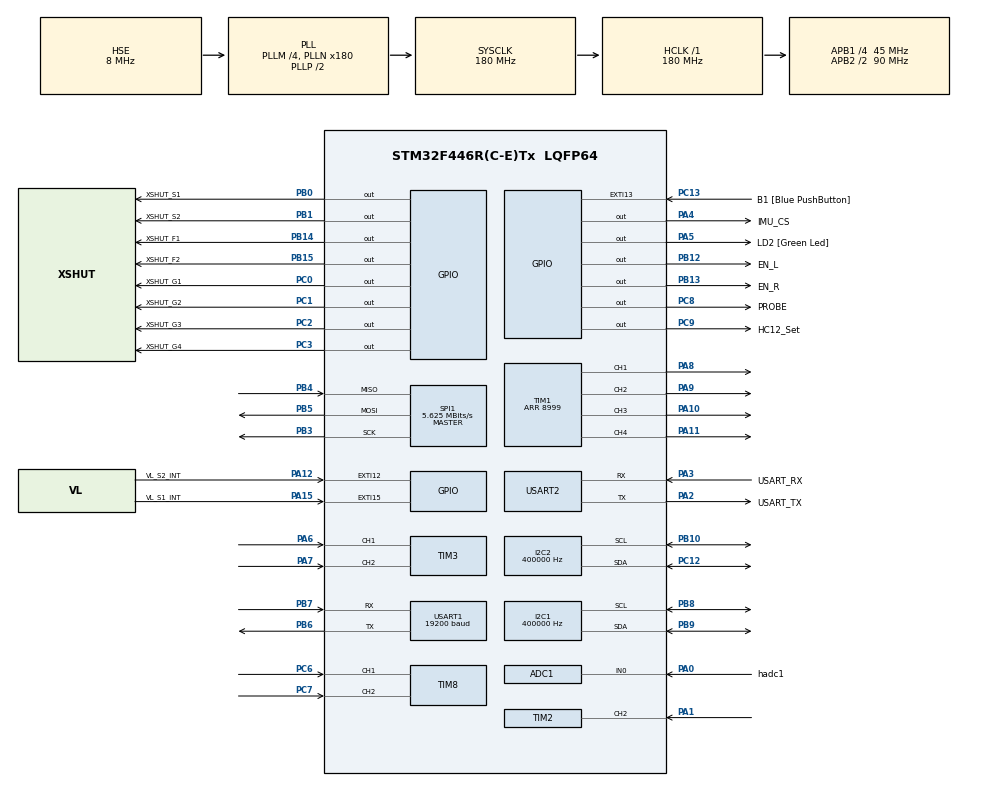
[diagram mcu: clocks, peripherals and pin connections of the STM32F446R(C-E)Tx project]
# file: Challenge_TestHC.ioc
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ADC1.Channel-0\#ChannelRegularConversion=ADC_CHANNEL_0
ADC1.NbrOfConversionFlag=1
ADC1.Rank-0\#ChannelRegularConversion=1
ADC1.SamplingTime-0\#ChannelRegularConversion=ADC_SAMPLETIME_480CYCLES
ADC1.master=1
Dma.Request0=SPI1_RX
Dma.Request1=SPI1_TX
Dma.Request2=USART1_RX
Dma.Request3=USART1_TX
Dma.SPI1_RX.0.Direction=DMA_PERIPH_TO_MEMORY
Dma.SPI1_RX.0.FIFOMode=DMA_FIFOMODE_DISABLE
Dma.SPI1_RX.0.Instance=DMA2_Stream0
Dma.SPI1_RX.0.MemDataAlignment=DMA_MDATAALIGN_BYTE
Dma.SPI1_RX.0.MemInc=DMA_MINC_ENABLE
Dma.SPI1_RX.0.Mode=DMA_NORMAL
Dma.SPI1_RX.0.PeriphDataAlignment=DMA_PDATAALIGN_BYTE
Dma.SPI1_RX.0.PeriphInc=DMA_PINC_DISABLE
Dma.SPI1_RX.0.Priority=DMA_PRIORITY_VERY_HIGH
Dma.SPI1_TX.1.Direction=DMA_MEMORY_TO_PERIPH
Dma.SPI1_TX.1.FIFOMode=DMA_FIFOMODE_DISABLE
Dma.SPI1_TX.1.Instance=DMA2_Stream3
Dma.SPI1_TX.1.MemDataAlignment=DMA_MDATAALIGN_BYTE
Dma.SPI1_TX.1.MemInc=DMA_MINC_ENABLE
Dma.SPI1_TX.1.Mode=DMA_NORMAL
Dma.SPI1_TX.1.PeriphDataAlignment=DMA_PDATAALIGN_BYTE
Dma.SPI1_TX.1.PeriphInc=DMA_PINC_DISABLE
Dma.SPI1_TX.1.Priority=DMA_PRIORITY_HIGH
Dma.USART1_RX.2.Direction=DMA_PERIPH_TO_MEMORY
Dma.USART1_RX.2.FIFOMode=DMA_FIFOMODE_DISABLE
Dma.USART1_RX.2.Instance=DMA2_Stream2
Dma.USART1_RX.2.MemDataAlignment=DMA_MDATAALIGN_BYTE
Dma.USART1_RX.2.MemInc=DMA_MINC_ENABLE
Dma.USART1_RX.2.Mode=DMA_CIRCULAR
Dma.USART1_RX.2.PeriphDataAlignment=DMA_PDATAALIGN_BYTE
Dma.USART1_RX.2.PeriphInc=DMA_PINC_DISABLE
Dma.USART1_RX.2.Priority=DMA_PRIORITY_MEDIUM
Dma.USART1_TX.3.Direction=DMA_MEMORY_TO_PERIPH
Dma.USART1_TX.3.FIFOMode=DMA_FIFOMODE_DISABLE
Dma.USART1_TX.3.Instance=DMA2_Stream7
Dma.USART1_TX.3.MemDataAlignment=DMA_MDATAALIGN_BYTE
Dma.USART1_TX.3.MemInc=DMA_MINC_ENABLE
Dma.USART1_TX.3.Mode=DMA_NORMAL
Dma.USART1_TX.3.PeriphDataAlignment=DMA_PDATAALIGN_BYTE
Dma.USART1_TX.3.PeriphInc=DMA_PINC_DISABLE
Dma.USART1_TX.3.Priority=DMA_PRIORITY_LOW
I2C1.ClockSpeed=400000
I2C1.DutyCycle=I2C_DUTYCYCLE_2
I2C1.I2C_Mode=I2C_Fast
I2C2.ClockSpeed=400000
I2C2.DutyCycle=I2C_DUTYCYCLE_2
I2C2.I2C_Mode=I2C_Fast
IWDG.Prescaler=IWDG_PRESCALER_32
IWDG.Reload=100
Mcu.Family=STM32F4
Mcu.Name=STM32F446R(C-E)Tx
Mcu.Package=LQFP64
NVIC.DMA2_Stream0_IRQn=true\:2\:0\:true\:false\:true\:false\:true\:true
NVIC.DMA2_Stream2_IRQn=true\:3\:0\:true\:false\:true\:false\:true\:true
NVIC.DMA2_Stream3_IRQn=true\:2\:0\:true\:false\:true\:false\:true\:true
NVIC.DMA2_Stream7_IRQn=true\:3\:0\:true\:false\:true\:false\:true\:true
NVIC.EXTI15_10_IRQn=true\:4\:0\:true\:false\:true\:true\:true\:true
NVIC.I2C1_ER_IRQn=true\:4\:0\:true\:false\:true\:true\:true\:true
NVIC.I2C1_EV_IRQn=true\:4\:0\:true\:false\:true\:true\:true\:true
NVIC.I2C2_ER_IRQn=true\:4\:0\:true\:false\:true\:true\:true\:true
NVIC.I2C2_EV_IRQn=true\:4\:0\:true\:false\:true\:true\:true\:true
NVIC.PriorityGroup=NVIC_PRIORITYGROUP_4
NVIC.TIM2_IRQn=true\:2\:0\:true\:false\:true\:true\:true\:true
NVIC.TIM6_DAC_IRQn=true\:1\:0\:true\:false\:true\:true\:true\:true
NVIC.USART1_IRQn=true\:3\:0\:true\:false\:true\:true\:true\:true
NVIC.USART2_IRQn=true\:3\:0\:true\:false\:true\:true\:true\:true
PA0-WKUP.GPIO_Label=hadc1
PA0-WKUP.Signal=ADCx_IN0
PA1.Signal=S_TIM2_CH2
PA10.Signal=S_TIM1_CH3
PA11.Signal=S_TIM1_CH4
PA12.GPIO_Label=VL_S2_INT
PA12.GPIO_ModeDefaultEXTI=GPIO_MODE_IT_FALLING
PA12.GPIO_PuPd=GPIO_PULLUP
PA12.Signal=GPXTI12
PA13.GPIO_Label=TMS
PA13.Mode=Serial_Wire
PA13.Signal=SYS_JTMS-SWDIO
PA14.GPIO_Label=TCK
PA14.Mode=Serial_Wire
PA14.Signal=SYS_JTCK-SWCLK
PA15.GPIO_Label=VL_S1_INT
PA15.GPIO_ModeDefaultEXTI=GPIO_MODE_IT_FALLING
PA15.GPIO_PuPd=GPIO_PULLUP
PA15.Signal=GPXTI15
PA2.GPIO_Label=USART_TX
PA2.Mode=Asynchronous
PA2.Signal=USART2_TX
PA3.GPIO_Label=USART_RX
PA3.Mode=Asynchronous
PA3.Signal=USART2_RX
PA4.GPIO_Label=IMU_CS
PA4.GPIO_Speed=GPIO_SPEED_FREQ_VERY_HIGH
PA4.PinState=GPIO_PIN_SET
PA4.Signal=GPIO_Output
PA5.GPIO_Label=LD2 [Green Led]
PA5.Signal=GPIO_Output
PA6.Signal=S_TIM3_CH1
PA7.Signal=S_TIM3_CH2
PA8.Signal=S_TIM1_CH1
PA9.Signal=S_TIM1_CH2
PB0.GPIO_Label=XSHUT_S1
PB0.Signal=GPIO_Output
PB1.GPIO_Label=XSHUT_S2
PB1.Signal=GPIO_Output
PB10.Mode=I2C
PB10.Signal=I2C2_SCL
PB12.GPIO_Label=EN_L
PB12.GPIO_PuPd=GPIO_PULLDOWN
PB12.Signal=GPIO_Output
PB13.GPIO_Label=EN_R
PB13.GPIO_PuPd=GPIO_PULLDOWN
PB13.Signal=GPIO_Output
PB14.GPIO_Label=XSHUT_F1
PB14.Signal=GPIO_Output
PB15.GPIO_Label=XSHUT_F2
PB15.Signal=GPIO_Output
PB3.Mode=Full_Duplex_Master
PB3.Signal=SPI1_SCK
PB4.Mode=Full_Duplex_Master
PB4.Signal=SPI1_MISO
PB5.Mode=Full_Duplex_Master
PB5.Signal=SPI1_MOSI
PB6.Mode=Asynchronous
PB6.Signal=USART1_TX
PB7.GPIO_PuPd=GPIO_PULLUP
PB7.Mode=Asynchronous
PB7.Signal=USART1_RX
PB8.Mode=I2C
PB8.Signal=I2C1_SCL
PB9.Mode=I2C
PB9.Signal=I2C1_SDA
PC0.GPIO_Label=XSHUT_G1
PC0.Signal=GPIO_Output
PC1.GPIO_Label=XSHUT_G2
PC1.Signal=GPIO_Output
PC12.Mode=I2C
PC12.Signal=I2C2_SDA
PC13.GPIO_Label=B1 [Blue PushButton]
PC13.GPIO_ModeDefaultEXTI=GPIO_MODE_IT_FALLING
PC13.Signal=GPXTI13
PC2.GPIO_Label=XSHUT_G3
PC2.Signal=GPIO_Output
PC3.GPIO_Label=XSHUT_G4
PC3.Signal=GPIO_Output
PC6.Signal=S_TIM8_CH1
PC7.Signal=S_TIM8_CH2
PC8.GPIO_Label=PROBE
PC8.GPIO_Speed=GPIO_SPEED_FREQ_VERY_HIGH
PC8.Signal=GPIO_Output
PC9.GPIO_Label=HC12_Set
PC9.PinState=GPIO_PIN_SET
PC9.Signal=GPIO_Output
PH0-OSC_IN.Mode=HSE-External-Clock-Source
PH0-OSC_IN.Signal=RCC_OSC_IN
PH1-OSC_OUT.Mode=HSE-External-Clock-Source
PH1-OSC_OUT.Signal=RCC_OSC_OUT
ProjectManager.HeapSize=0x400
ProjectManager.StackSize=0x1000
ProjectManager.TargetToolchain=STM32CubeIDE
RCC.AHBFreq_Value=180000000
RCC.APB1CLKDivider=RCC_HCLK_DIV4
RCC.APB1Freq_Value=45000000
RCC.APB1TimFreq_Value=90000000
RCC.APB2CLKDivider=RCC_HCLK_DIV2
RCC.APB2Freq_Value=90000000
RCC.APB2TimFreq_Value=180000000
RCC.CortexFreq_Value=180000000
RCC.EnbaleCSS=true
RCC.FLatency-AdvancedSettings=FLASH_LATENCY_5
RCC.HCLKFreq_Value=180000000
RCC.HSE_Timout=1000
RCC.HSE_VALUE=8000000
RCC.HSI_VALUE=16000000
RCC.LSE_VALUE=32768
RCC.PLLM=4
RCC.PLLN=180
RCC.PLLSourceVirtual=RCC_PLLSOURCE_HSE
RCC.SYSCLKFreq_VALUE=180000000
RCC.SYSCLKSource=RCC_SYSCLKSOURCE_PLLCLK
RCC.USBFreq_Value=180000000
RCC.VCOOutputFreq_Value=360000000
SH.ADCx_IN0.0=ADC1_IN0,IN0
SH.S_TIM1_CH1.0=TIM1_CH1,PWM Generation1 CH1
SH.S_TIM1_CH2.0=TIM1_CH2,PWM Generation2 CH2
SH.S_TIM1_CH3.0=TIM1_CH3,PWM Generation3 CH3
SH.S_TIM1_CH4.0=TIM1_CH4,PWM Generation4 CH4
SH.S_TIM2_CH2.0=TIM2_CH2,Input_Capture2_from_TI2
SH.S_TIM3_CH1.0=TIM3_CH1,Encoder_Interface
SH.S_TIM3_CH2.0=TIM3_CH2,Encoder_Interface
SH.S_TIM8_CH1.0=TIM8_CH1,Encoder_Interface
SH.S_TIM8_CH2.0=TIM8_CH2,Encoder_Interface
SPI1.BaudRatePrescaler=SPI_BAUDRATEPRESCALER_16
SPI1.CLKPhase=SPI_PHASE_2EDGE
SPI1.CLKPolarity=SPI_POLARITY_HIGH
SPI1.CalculateBaudRate=5.625 MBits/s
SPI1.Direction=SPI_DIRECTION_2LINES
SPI1.Mode=SPI_MODE_MASTER
SPI1.VirtualType=VM_MASTER
TIM1.AutoReloadPreload=TIM_AUTORELOAD_PRELOAD_ENABLE
TIM1.Channel-PWM\ Generation1\ CH1=TIM_CHANNEL_1
TIM1.Channel-PWM\ Generation2\ CH2=TIM_CHANNEL_2
TIM1.Channel-PWM\ Generation3\ CH3=TIM_CHANNEL_3
TIM1.Channel-PWM\ Generation4\ CH4=TIM_CHANNEL_4
TIM1.Period=8999
TIM2.Channel-Input_Capture2_from_TI2=TIM_CHANNEL_2
TIM2.Prescaler=89
TIM3.EncoderMode=TIM_ENCODERMODE_TI12
TIM3.IC1Filter=15
TIM3.IC2Filter=15
TIM6.AutoReloadPreload=TIM_AUTORELOAD_PRELOAD_ENABLE
TIM6.Period=999
TIM6.Prescaler=89
TIM8.ClockDivision=TIM_CLOCKDIVISION_DIV2
TIM8.EncoderMode=TIM_ENCODERMODE_TI12
TIM8.IC1Filter=15
TIM8.IC2Filter=15
USART1.BaudRate=19200
USART1.VirtualMode=VM_ASYNC
USART2.VirtualMode=VM_ASYNC
VP_IWDG_VS_IWDG.Mode=IWDG_Activate
VP_TIM2_VS_ClockSourceINT.Mode=Internal
VP_TIM6_VS_ClockSourceINT.Mode=Enable_Timer
board=NUCLEO-F446RE

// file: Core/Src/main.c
/* USER CODE BEGIN Header */
/**
  ******************************************************************************
  * @file    main.c
  * @brief   Car: 2x encoder (TIM3 = left, TIM8 = right), 2x BTS7960,
  *          trapezoid speed profile + PI speed control, command D<mm>.
  *          Board : NUCLEO-F446RE (STM32F446RE), SYSCLK 180 MHz (HSE bypass)
  *
  *  Hardware (according to MR2006B_Pinout.xlsx)
  *   PA2/PA3    USART2     ST-LINK virtual COM port (115200)
  *   PA6, PA7   TIM3_CH1/2 left encoder  A, B   (3.3 V supply for encoders!)
  *   PC6, PC7   TIM8_CH1/2 right encoder A, B
  *   PA8        TIM1_CH1   LEFT  BTS7960  RPWM  (forward)
  *   PA9        TIM1_CH2   LEFT  BTS7960  LPWM  (reverse)
  *   PA10       TIM1_CH3   RIGHT BTS7960  RPWM  (forward)
  *   PA11       TIM1_CH4   RIGHT BTS7960  LPWM  (reverse)
  *   PB12 EN_L  GPIO out   LEFT  BTS7960  R_EN + L_EN (tied together, 10k pull-down)
  *   PB13 EN_R  GPIO out   RIGHT BTS7960  R_EN + L_EN (tied together, 10k pull-down)
  *   TIM6       internal 50 Hz timer interrupt = control loop
  *
  *  Serial monitor commands (CR or LF at the end):
  *     D1000 / D-1000   drive 1000 mm forward / backward
  *     V300             nominal speed [mm/s]            (default 300)
  *     T1000            acceleration = deceleration ramp [ms]
  *     T1000 1500       acceleration ramp, deceleration ramp [ms]
  *     -100 ... 100     OPEN LOOP duty in % (for measuring, wheels in the air)
  *     s                stop / abort
  *     r                reset both counters (only when stopped)
  *     p                print once
  *     a                auto print on/off (every 250 ms)
  *     ?                help
  ******************************************************************************
  */
/* USER CODE END Header */
#include "main.h"

/* USER CODE BEGIN Includes */
#include "app.h"
#include "app_config.h"
#include "sys_fault.h"
#if APP_CALIB
#include "calib.h"
#endif
/* USER CODE END Includes */

/* USER CODE BEGIN PTD */
#if 0  /* pre-spec firmware, compiled out until H3 passes (spec 16.3), then deleted */
typedef enum {
  PH_IDLE = 0,
  PH_MOVE,        /* following the speed profile                       */
  PH_SETTLE,      /* profile finished, trimming the last millimetres   */
  PH_FAULT        /* stalled or wrong encoder/motor sign               */
} Phase_t;

typedef struct {
  TIM_HandleTypeDef *enc;       /* encoder timer                        */
  uint32_t ch_fwd, ch_rev;      /* TIM1 PWM channels (RPWM, LPWM)       */
  int8_t   enc_sign;            /* +1/-1: forward must give +counts     */
  int8_t   mot_sign;            /* +1/-1: +duty must drive forward      */
  float    ks;                  /* feed-forward offset, % duty          */
  float    kv;
  float    ks_break;
  uint16_t last_raw;
  int32_t  total;               /* counts                               */
  int32_t  start_total;         /* counts at the start of the move      */
  float    speed;               /* filtered speed [mm/s]                */
  float    integ;               /* PI integrator, already in % duty     */
  float    duty;                /* output, % (wheel-forward positive)   */
  uint8_t  kick_ticks;
  uint8_t  moved;               /* wheel has broken away in this move   */
  uint8_t  fault_cnt;
} Wheel_t;
                /* feed-forward slope, % per mm/s       */
#endif
/* USER CODE END PTD */

/* USER CODE BEGIN PD */
#if 0
/* ---- mechanics ---- */
#define WHEEL_DIAMETER_MM     72.6f
#define WHEEL_BASE_MM         223.25f   /* not used yet, for odometry later  */
#define COUNTS_PER_WHEEL_REV  3584.0f   /* measured average: 3584.5          */
#define PI_F                  3.14159265f
#define MM_PER_COUNT          ((PI_F * WHEEL_DIAMETER_MM) / COUNTS_PER_WHEEL_REV)

/* Encoder signs: forward motion must give POSITIVE counts */
#define ENC_L_SIGN            1
#define ENC_R_SIGN            -1
/* Motor signs: positive duty must drive the wheel FORWARD */
#define MOT_L_SIGN            -1
#define MOT_R_SIGN            1

/* ---- BTS7960 / PWM ---- */
#define MOT_L_FWD_CH          TIM_CHANNEL_1   /* PA8  */
#define MOT_L_REV_CH          TIM_CHANNEL_2   /* PA9  */
#define MOT_R_FWD_CH          TIM_CHANNEL_3   /* PA10 */
#define MOT_R_REV_CH          TIM_CHANNEL_4   /* PA11 */
#define PWM_FREQ_HZ           20000U          /* BTS7960 allows up to 25 kHz */

/* ---- control loop (TIM6) ---- */
#define CTRL_PERIOD_S         0.02f           /* 50 Hz, must match TIM6      */
#define SPEED_FILTER_ALPHA    0.5f            /* 1 = no filtering            */

/* ---- feed-forward and start-up (TUNE THESE FIRST) ---- */
/* ---- feed-forward, measured per motor (CONCEPT.md §5.5) ---- */
#define KV_L                  0.00492f  /* duty per output rpm             */
#define KS_L                  0.110f    /* duty, running-fit intercept     */
#define KV_R                  0.00507f
#define KS_R                  0.127f
#define RPM_PER_MMS           (60.0f / (PI_F * WHEEL_DIAMETER_MM))
#define KV_PCT_PER_MMS(kv)    ((kv) * 100.0f * RPM_PER_MMS)
#define KS_PCT(ks)            ((ks) * 100.0f)
#define KICK_DUTY_PCT         40.0f   /* short boost to break static friction*/
#define KICK_TICKS            5U      /* max 5 x 20 ms = 100 ms of boost     */
#define V_MOVING_MM_S         8.0f    /* above this the wheel is "moving"    */
#define V_ZERO_MM_S           2.0f    /* below this the command is "zero"    */

/* ---- PI speed controller (per wheel) ---- */
#define KP_SPEED              0.10f   /* % duty per mm/s of error            */
#define KI_SPEED              0.50f   /* % duty per (mm/s * s)               */
#define INTEG_MAX_PCT         30.0f   /* anti-windup clamp                   */

/* ---- position trim (keeps both wheels on the profile = straight line) ---- */
#define KP_POS                2.0f    /* mm/s per mm of position error       */
#define V_CORR_MAX_MM_S       100.0f
#define SETTLE_V_MM_S         20.0f
#define POS_TOL_MM            2.0f
#define SETTLE_TICKS          50U     /* 1 s                                 */

/* ---- protection ---- */
#define FAULT_TICKS           30U     /* 0.6 s                               */

/* ---- user limits / defaults ---- */
#define V_NOM_DEFAULT         300.0f
#define V_NOM_MIN             20L
#define V_NOM_MAX             800L
#define ACC_MS_DEFAULT        1000U
#define DEC_MS_DEFAULT        1000U
#define MIN_DIST_MM           5L
#define MAX_DIST_MM           20000L

#define EVT_DONE              1U
#define EVT_FAULT             2U

#define RX_LINE_MAX           16
#define AUTO_PRINT_MS         250U
#define DEADMAN_MS            2000U   /* open loop: stop without input */
#endif
/* USER CODE END PD */

ADC_HandleTypeDef hadc1;

I2C_HandleTypeDef hi2c1;
I2C_HandleTypeDef hi2c2;

IWDG_HandleTypeDef hiwdg;

SPI_HandleTypeDef hspi1;
DMA_HandleTypeDef hdma_spi1_rx;
DMA_HandleTypeDef hdma_spi1_tx;

TIM_HandleTypeDef htim1;
TIM_HandleTypeDef htim2;
TIM_HandleTypeDef htim3;
TIM_HandleTypeDef htim6;
TIM_HandleTypeDef htim8;

UART_HandleTypeDef huart1;
UART_HandleTypeDef huart2;
DMA_HandleTypeDef hdma_usart1_rx;
DMA_HandleTypeDef hdma_usart1_tx;

/* USER CODE BEGIN PV */
#if 0
static Wheel_t wl = { .enc = &htim3, .ch_fwd = MOT_L_FWD_CH, .ch_rev = MOT_L_REV_CH,
                      .enc_sign = ENC_L_SIGN, .mot_sign = MOT_L_SIGN,
					  .ks = KS_PCT(KS_L), .kv = KV_PCT_PER_MMS(KV_L), .ks_break = 14.1f };
static Wheel_t wr = { .enc = &htim8, .ch_fwd = MOT_R_FWD_CH, .ch_rev = MOT_R_REV_CH,
                      .enc_sign = ENC_R_SIGN, .mot_sign = MOT_R_SIGN,
					  .ks = KS_PCT(KS_R), .kv = KV_PCT_PER_MMS(KV_R), .ks_break = 16.9f };

/* for STM32CubeMonitor / debugger */
volatile float position_l_mm = 0.0f;
volatile float position_r_mm = 0.0f;
volatile float speed_l_mms   = 0.0f;
volatile float speed_r_mms   = 0.0f;

static volatile Phase_t phase = PH_IDLE;
static volatile uint8_t evt   = 0;
static uint32_t pwm_arr       = 8999U;          /* recomputed in PWM_Setup() */

/* user settings */
static float    v_nom  = V_NOM_DEFAULT;
static uint32_t acc_ms = ACC_MS_DEFAULT;
static uint32_t dec_ms = DEC_MS_DEFAULT;

/* current move (written with interrupts disabled) */
static float    mv_D = 0, mv_Sn = 0, mv_a = 1, mv_d = 1, mv_T = 0, mv_t1 = 0, mv_t2 = 0;
static int8_t   mv_dir = 1;
static long     mv_target_mm = 0;
static uint32_t mv_ticks = 0;
static uint32_t settle_ticks = 0;

/* serial */
static volatile char    rx_line[RX_LINE_MAX];
static volatile uint8_t rx_len     = 0;
static volatile uint8_t line_ready = 0;
static uint8_t rx_byte;
static uint8_t auto_print = 0;
static uint8_t           rx_byte1;        /* HC-12 on USART1 */
static volatile uint32_t t_last_rx = 0;   /* last byte from either UART */
static uint8_t           open_loop = 0;   /* open-loop duty is active */
#endif
/* USER CODE END PV */

void SystemClock_Config(void);
static void MX_GPIO_Init(void);
static void MX_DMA_Init(void);
static void MX_TIM1_Init(void);
static void MX_TIM2_Init(void);
static void MX_TIM3_Init(void);
static void MX_TIM6_Init(void);
static void MX_TIM8_Init(void);
static void MX_USART1_UART_Init(void);
static void MX_USART2_UART_Init(void);
static void MX_ADC1_Init(void);
static void MX_SPI1_Init(void);
static void MX_I2C1_Init(void);
static void MX_I2C2_Init(void);
/* USER CODE BEGIN PFP */
#if 0
static void Car_Init(void);
static void Car_Loop(void);
static void PWM_Setup(void);
static void Serial_Print(const char *txt);
static void Serial_HandleCommand(const char *cmd);
static void Serial_PrintStatus(void);
static void Wheel_SetDuty(Wheel_t *w, float duty);
static void Motors_Stop(void);
static int  Move_Start(long dist_mm);
#endif
/* USER CODE END PFP */

int main(void)
{

  /* MCU Configuration--------------------------------------------------------*/

  /* Reset of all peripherals, Initializes the Flash interface and the Systick. */
  HAL_Init();

  /* Configure the system clock */
  SystemClock_Config();

  /* Initialize all configured peripherals */
  MX_GPIO_Init();
  MX_DMA_Init();
  MX_TIM1_Init();
  MX_TIM2_Init();
  MX_TIM3_Init();
  MX_TIM6_Init();
  MX_TIM8_Init();
  MX_USART1_UART_Init();
  MX_USART2_UART_Init();
  MX_ADC1_Init();
  MX_SPI1_Init();
  MX_I2C1_Init();
  MX_I2C2_Init();
  /* USER CODE BEGIN 2 */
#if APP_CALIB
  htim6.Instance->ARR = 19999U;                  /* 50 Hz for the calibration firmware */
  Calib_Init(&htim1, &htim3, &htim8, &htim6, &huart2, &huart1);
  for (;;) { Calib_Loop(); }
#else
  app_init(&(app_hw_t){ .tim1 = &htim1, .tim2 = &htim2, .tim3 = &htim3, .tim6 = &htim6,
                        .tim8 = &htim8, .uart1 = &huart1, .uart2 = &huart2 });
#endif
  /* USER CODE END 2 */

  /* Infinite loop */
  while (1)
  {

    /* USER CODE BEGIN 3 */
    app_loop();
  }
  /* USER CODE END 3 */
}

void SystemClock_Config(void)
{
  RCC_OscInitTypeDef RCC_OscInitStruct = {0};
  RCC_ClkInitTypeDef RCC_ClkInitStruct = {0};

  /** Configure the main internal regulator output voltage
  */
  __HAL_RCC_PWR_CLK_ENABLE();
  __HAL_PWR_VOLTAGESCALING_CONFIG(PWR_REGULATOR_VOLTAGE_SCALE1);

  /** Initializes the RCC Oscillators according to the specified parameters
  * in the RCC_OscInitTypeDef structure.
  */
  RCC_OscInitStruct.OscillatorType = RCC_OSCILLATORTYPE_LSI|RCC_OSCILLATORTYPE_HSE;
  RCC_OscInitStruct.HSEState = RCC_HSE_BYPASS;
  RCC_OscInitStruct.LSIState = RCC_LSI_ON;
  RCC_OscInitStruct.PLL.PLLState = RCC_PLL_ON;
  RCC_OscInitStruct.PLL.PLLSource = RCC_PLLSOURCE_HSE;
  RCC_OscInitStruct.PLL.PLLM = 4;
  RCC_OscInitStruct.PLL.PLLN = 180;
  RCC_OscInitStruct.PLL.PLLP = RCC_PLLP_DIV2;
  RCC_OscInitStruct.PLL.PLLQ = 2;
  RCC_OscInitStruct.PLL.PLLR = 2;
  if (HAL_RCC_OscConfig(&RCC_OscInitStruct) != HAL_OK)
  {
    Error_Handler();
  }

  /** Activate the Over-Drive mode
  */
  if (HAL_PWREx_EnableOverDrive() != HAL_OK)
  {
    Error_Handler();
  }

  /** Initializes the CPU, AHB and APB buses clocks
  */
  RCC_ClkInitStruct.ClockType = RCC_CLOCKTYPE_HCLK|RCC_CLOCKTYPE_SYSCLK
                              |RCC_CLOCKTYPE_PCLK1|RCC_CLOCKTYPE_PCLK2;
  RCC_ClkInitStruct.SYSCLKSource = RCC_SYSCLKSOURCE_PLLCLK;
  RCC_ClkInitStruct.AHBCLKDivider = RCC_SYSCLK_DIV1;
  RCC_ClkInitStruct.APB1CLKDivider = RCC_HCLK_DIV4;
  RCC_ClkInitStruct.APB2CLKDivider = RCC_HCLK_DIV2;

  if (HAL_RCC_ClockConfig(&RCC_ClkInitStruct, FLASH_LATENCY_5) != HAL_OK)
  {
    Error_Handler();
  }

  /** Enables the Clock Security System
  */
  HAL_RCC_EnableCSS();
}

static void MX_ADC1_Init(void)
{

  ADC_ChannelConfTypeDef sConfig = {0};

  /** Configure the global features of the ADC (Clock, Resolution, Data Alignment and number of conversion)
  */
  hadc1.Instance = ADC1;
  hadc1.Init.ClockPrescaler = ADC_CLOCK_SYNC_PCLK_DIV4;
  hadc1.Init.Resolution = ADC_RESOLUTION_12B;
  hadc1.Init.ScanConvMode = DISABLE;
  hadc1.Init.ContinuousConvMode = DISABLE;
  hadc1.Init.DiscontinuousConvMode = DISABLE;
  hadc1.Init.ExternalTrigConvEdge = ADC_EXTERNALTRIGCONVEDGE_NONE;
  hadc1.Init.ExternalTrigConv = ADC_SOFTWARE_START;
  hadc1.Init.DataAlign = ADC_DATAALIGN_RIGHT;
  hadc1.Init.NbrOfConversion = 1;
  hadc1.Init.DMAContinuousRequests = DISABLE;
  hadc1.Init.EOCSelection = ADC_EOC_SINGLE_CONV;
  if (HAL_ADC_Init(&hadc1) != HAL_OK)
  {
    Error_Handler();
  }

  /** Configure for the selected ADC regular channel its corresponding rank in the sequencer and its sample time.
  */
  sConfig.Channel = ADC_CHANNEL_0;
  sConfig.Rank = 1;
  sConfig.SamplingTime = ADC_SAMPLETIME_480CYCLES;
  if (HAL_ADC_ConfigChannel(&hadc1, &sConfig) != HAL_OK)
  {
    Error_Handler();
  }

}

static void MX_I2C1_Init(void)
{

  hi2c1.Instance = I2C1;
  hi2c1.Init.ClockSpeed = 400000;
  hi2c1.Init.DutyCycle = I2C_DUTYCYCLE_2;
  hi2c1.Init.OwnAddress1 = 0;
  hi2c1.Init.AddressingMode = I2C_ADDRESSINGMODE_7BIT;
  hi2c1.Init.DualAddressMode = I2C_DUALADDRESS_DISABLE;
  hi2c1.Init.OwnAddress2 = 0;
  hi2c1.Init.GeneralCallMode = I2C_GENERALCALL_DISABLE;
  hi2c1.Init.NoStretchMode = I2C_NOSTRETCH_DISABLE;
  if (HAL_I2C_Init(&hi2c1) != HAL_OK)
  {
    Error_Handler();
  }

}

static void MX_I2C2_Init(void)
{

  hi2c2.Instance = I2C2;
  hi2c2.Init.ClockSpeed = 400000;
  hi2c2.Init.DutyCycle = I2C_DUTYCYCLE_2;
  hi2c2.Init.OwnAddress1 = 0;
  hi2c2.Init.AddressingMode = I2C_ADDRESSINGMODE_7BIT;
  hi2c2.Init.DualAddressMode = I2C_DUALADDRESS_DISABLE;
  hi2c2.Init.OwnAddress2 = 0;
  hi2c2.Init.GeneralCallMode = I2C_GENERALCALL_DISABLE;
  hi2c2.Init.NoStretchMode = I2C_NOSTRETCH_DISABLE;
  if (HAL_I2C_Init(&hi2c2) != HAL_OK)
  {
    Error_Handler();
  }

}

void MX_IWDG_Init(void)
{

  hiwdg.Instance = IWDG;
  hiwdg.Init.Prescaler = IWDG_PRESCALER_32;
  hiwdg.Init.Reload = 100;
  if (HAL_IWDG_Init(&hiwdg) != HAL_OK)
  {
    Error_Handler();
  }

}

static void MX_SPI1_Init(void)
{

  /* SPI1 parameter configuration*/
  hspi1.Instance = SPI1;
  hspi1.Init.Mode = SPI_MODE_MASTER;
  hspi1.Init.Direction = SPI_DIRECTION_2LINES;
  hspi1.Init.DataSize = SPI_DATASIZE_8BIT;
  hspi1.Init.CLKPolarity = SPI_POLARITY_HIGH;
  hspi1.Init.CLKPhase = SPI_PHASE_2EDGE;
  hspi1.Init.NSS = SPI_NSS_SOFT;
  hspi1.Init.BaudRatePrescaler = SPI_BAUDRATEPRESCALER_16;
  hspi1.Init.FirstBit = SPI_FIRSTBIT_MSB;
  hspi1.Init.TIMode = SPI_TIMODE_DISABLE;
  hspi1.Init.CRCCalculation = SPI_CRCCALCULATION_DISABLE;
  hspi1.Init.CRCPolynomial = 10;
  if (HAL_SPI_Init(&hspi1) != HAL_OK)
  {
    Error_Handler();
  }

}

static void MX_TIM1_Init(void)
{

  TIM_MasterConfigTypeDef sMasterConfig = {0};
  TIM_OC_InitTypeDef sConfigOC = {0};
  TIM_BreakDeadTimeConfigTypeDef sBreakDeadTimeConfig = {0};

  htim1.Instance = TIM1;
  htim1.Init.Prescaler = 0;
  htim1.Init.CounterMode = TIM_COUNTERMODE_UP;
  htim1.Init.Period = 8999;
  htim1.Init.ClockDivision = TIM_CLOCKDIVISION_DIV1;
  htim1.Init.RepetitionCounter = 0;
  htim1.Init.AutoReloadPreload = TIM_AUTORELOAD_PRELOAD_ENABLE;
  if (HAL_TIM_PWM_Init(&htim1) != HAL_OK)
  {
    Error_Handler();
  }
  sMasterConfig.MasterOutputTrigger = TIM_TRGO_RESET;
  sMasterConfig.MasterSlaveMode = TIM_MASTERSLAVEMODE_DISABLE;
  if (HAL_TIMEx_MasterConfigSynchronization(&htim1, &sMasterConfig) != HAL_OK)
  {
    Error_Handler();
  }
  sConfigOC.OCMode = TIM_OCMODE_PWM1;
  sConfigOC.Pulse = 0;
  sConfigOC.OCPolarity = TIM_OCPOLARITY_HIGH;
  sConfigOC.OCNPolarity = TIM_OCNPOLARITY_HIGH;
  sConfigOC.OCFastMode = TIM_OCFAST_DISABLE;
  sConfigOC.OCIdleState = TIM_OCIDLESTATE_RESET;
  sConfigOC.OCNIdleState = TIM_OCNIDLESTATE_RESET;
  if (HAL_TIM_PWM_ConfigChannel(&htim1, &sConfigOC, TIM_CHANNEL_1) != HAL_OK)
  {
    Error_Handler();
  }
  if (HAL_TIM_PWM_ConfigChannel(&htim1, &sConfigOC, TIM_CHANNEL_2) != HAL_OK)
  {
    Error_Handler();
  }
  if (HAL_TIM_PWM_ConfigChannel(&htim1, &sConfigOC, TIM_CHANNEL_3) != HAL_OK)
  {
    Error_Handler();
  }
  if (HAL_TIM_PWM_ConfigChannel(&htim1, &sConfigOC, TIM_CHANNEL_4) != HAL_OK)
  {
    Error_Handler();
  }
  sBreakDeadTimeConfig.OffStateRunMode = TIM_OSSR_DISABLE;
  sBreakDeadTimeConfig.OffStateIDLEMode = TIM_OSSI_DISABLE;
  sBreakDeadTimeConfig.LockLevel = TIM_LOCKLEVEL_OFF;
  sBreakDeadTimeConfig.DeadTime = 0;
  sBreakDeadTimeConfig.BreakState = TIM_BREAK_DISABLE;
  sBreakDeadTimeConfig.BreakPolarity = TIM_BREAKPOLARITY_HIGH;
  sBreakDeadTimeConfig.AutomaticOutput = TIM_AUTOMATICOUTPUT_DISABLE;
  if (HAL_TIMEx_ConfigBreakDeadTime(&htim1, &sBreakDeadTimeConfig) != HAL_OK)
  {
    Error_Handler();
  }
  HAL_TIM_MspPostInit(&htim1);

}

static void MX_TIM2_Init(void)
{

  TIM_ClockConfigTypeDef sClockSourceConfig = {0};
  TIM_MasterConfigTypeDef sMasterConfig = {0};
  TIM_IC_InitTypeDef sConfigIC = {0};

  htim2.Instance = TIM2;
  htim2.Init.Prescaler = 89;
  htim2.Init.CounterMode = TIM_COUNTERMODE_UP;
  htim2.Init.Period = 4294967295;
  htim2.Init.ClockDivision = TIM_CLOCKDIVISION_DIV1;
  htim2.Init.AutoReloadPreload = TIM_AUTORELOAD_PRELOAD_DISABLE;
  if (HAL_TIM_Base_Init(&htim2) != HAL_OK)
  {
    Error_Handler();
  }
  sClockSourceConfig.ClockSource = TIM_CLOCKSOURCE_INTERNAL;
  if (HAL_TIM_ConfigClockSource(&htim2, &sClockSourceConfig) != HAL_OK)
  {
    Error_Handler();
  }
  if (HAL_TIM_IC_Init(&htim2) != HAL_OK)
  {
    Error_Handler();
  }
  sMasterConfig.MasterOutputTrigger = TIM_TRGO_RESET;
  sMasterConfig.MasterSlaveMode = TIM_MASTERSLAVEMODE_DISABLE;
  if (HAL_TIMEx_MasterConfigSynchronization(&htim2, &sMasterConfig) != HAL_OK)
  {
    Error_Handler();
  }
  sConfigIC.ICPolarity = TIM_INPUTCHANNELPOLARITY_RISING;
  sConfigIC.ICSelection = TIM_ICSELECTION_DIRECTTI;
  sConfigIC.ICPrescaler = TIM_ICPSC_DIV1;
  sConfigIC.ICFilter = 0;
  if (HAL_TIM_IC_ConfigChannel(&htim2, &sConfigIC, TIM_CHANNEL_2) != HAL_OK)
  {
    Error_Handler();
  }

}

static void MX_TIM3_Init(void)
{

  TIM_Encoder_InitTypeDef sConfig = {0};
  TIM_MasterConfigTypeDef sMasterConfig = {0};

  htim3.Instance = TIM3;
  htim3.Init.Prescaler = 0;
  htim3.Init.CounterMode = TIM_COUNTERMODE_UP;
  htim3.Init.Period = 65535;
  htim3.Init.ClockDivision = TIM_CLOCKDIVISION_DIV1;
  htim3.Init.AutoReloadPreload = TIM_AUTORELOAD_PRELOAD_DISABLE;
  sConfig.EncoderMode = TIM_ENCODERMODE_TI12;
  sConfig.IC1Polarity = TIM_ICPOLARITY_RISING;
  sConfig.IC1Selection = TIM_ICSELECTION_DIRECTTI;
  sConfig.IC1Prescaler = TIM_ICPSC_DIV1;
  sConfig.IC1Filter = 15;
  sConfig.IC2Polarity = TIM_ICPOLARITY_RISING;
  sConfig.IC2Selection = TIM_ICSELECTION_DIRECTTI;
  sConfig.IC2Prescaler = TIM_ICPSC_DIV1;
  sConfig.IC2Filter = 15;
  if (HAL_TIM_Encoder_Init(&htim3, &sConfig) != HAL_OK)
  {
    Error_Handler();
  }
  sMasterConfig.MasterOutputTrigger = TIM_TRGO_RESET;
  sMasterConfig.MasterSlaveMode = TIM_MASTERSLAVEMODE_DISABLE;
  if (HAL_TIMEx_MasterConfigSynchronization(&htim3, &sMasterConfig) != HAL_OK)
  {
    Error_Handler();
  }

}

static void MX_TIM6_Init(void)
{

  TIM_MasterConfigTypeDef sMasterConfig = {0};

  htim6.Instance = TIM6;
  htim6.Init.Prescaler = 89;
  htim6.Init.CounterMode = TIM_COUNTERMODE_UP;
  htim6.Init.Period = 999;
  htim6.Init.AutoReloadPreload = TIM_AUTORELOAD_PRELOAD_ENABLE;
  if (HAL_TIM_Base_Init(&htim6) != HAL_OK)
  {
    Error_Handler();
  }
  sMasterConfig.MasterOutputTrigger = TIM_TRGO_RESET;
  sMasterConfig.MasterSlaveMode = TIM_MASTERSLAVEMODE_DISABLE;
  if (HAL_TIMEx_MasterConfigSynchronization(&htim6, &sMasterConfig) != HAL_OK)
  {
    Error_Handler();
  }

}

static void MX_TIM8_Init(void)
{

  TIM_Encoder_InitTypeDef sConfig = {0};
  TIM_MasterConfigTypeDef sMasterConfig = {0};

  htim8.Instance = TIM8;
  htim8.Init.Prescaler = 0;
  htim8.Init.CounterMode = TIM_COUNTERMODE_UP;
  htim8.Init.Period = 65535;
  htim8.Init.ClockDivision = TIM_CLOCKDIVISION_DIV2;
  htim8.Init.RepetitionCounter = 0;
  htim8.Init.AutoReloadPreload = TIM_AUTORELOAD_PRELOAD_DISABLE;
  sConfig.EncoderMode = TIM_ENCODERMODE_TI12;
  sConfig.IC1Polarity = TIM_ICPOLARITY_RISING;
  sConfig.IC1Selection = TIM_ICSELECTION_DIRECTTI;
  sConfig.IC1Prescaler = TIM_ICPSC_DIV1;
  sConfig.IC1Filter = 15;
  sConfig.IC2Polarity = TIM_ICPOLARITY_RISING;
  sConfig.IC2Selection = TIM_ICSELECTION_DIRECTTI;
  sConfig.IC2Prescaler = TIM_ICPSC_DIV1;
  sConfig.IC2Filter = 15;
  if (HAL_TIM_Encoder_Init(&htim8, &sConfig) != HAL_OK)
  {
    Error_Handler();
  }
  sMasterConfig.MasterOutputTrigger = TIM_TRGO_RESET;
  sMasterConfig.MasterSlaveMode = TIM_MASTERSLAVEMODE_DISABLE;
  if (HAL_TIMEx_MasterConfigSynchronization(&htim8, &sMasterConfig) != HAL_OK)
  {
    Error_Handler();
  }

}

static void MX_USART1_UART_Init(void)
{

  huart1.Instance = USART1;
  huart1.Init.BaudRate = 19200;
  huart1.Init.WordLength = UART_WORDLENGTH_8B;
  huart1.Init.StopBits = UART_STOPBITS_1;
  huart1.Init.Parity = UART_PARITY_NONE;
  huart1.Init.Mode = UART_MODE_TX_RX;
  huart1.Init.HwFlowCtl = UART_HWCONTROL_NONE;
  huart1.Init.OverSampling = UART_OVERSAMPLING_16;
  if (HAL_UART_Init(&huart1) != HAL_OK)
  {
    Error_Handler();
  }

}

static void MX_USART2_UART_Init(void)
{

  huart2.Instance = USART2;
  huart2.Init.BaudRate = 115200;
  huart2.Init.WordLength = UART_WORDLENGTH_8B;
  huart2.Init.StopBits = UART_STOPBITS_1;
  huart2.Init.Parity = UART_PARITY_NONE;
  huart2.Init.Mode = UART_MODE_TX_RX;
  huart2.Init.HwFlowCtl = UART_HWCONTROL_NONE;
  huart2.Init.OverSampling = UART_OVERSAMPLING_16;
  if (HAL_UART_Init(&huart2) != HAL_OK)
  {
    Error_Handler();
  }

}

static void MX_DMA_Init(void)
{

  /* DMA controller clock enable */
  __HAL_RCC_DMA2_CLK_ENABLE();

  /* DMA interrupt init */
  /* DMA2_Stream0_IRQn interrupt configuration */
  HAL_NVIC_SetPriority(DMA2_Stream0_IRQn, 2, 0);
  HAL_NVIC_EnableIRQ(DMA2_Stream0_IRQn);
  /* DMA2_Stream2_IRQn interrupt configuration */
  HAL_NVIC_SetPriority(DMA2_Stream2_IRQn, 3, 0);
  HAL_NVIC_EnableIRQ(DMA2_Stream2_IRQn);
  /* DMA2_Stream3_IRQn interrupt configuration */
  HAL_NVIC_SetPriority(DMA2_Stream3_IRQn, 2, 0);
  HAL_NVIC_EnableIRQ(DMA2_Stream3_IRQn);
  /* DMA2_Stream7_IRQn interrupt configuration */
  HAL_NVIC_SetPriority(DMA2_Stream7_IRQn, 3, 0);
  HAL_NVIC_EnableIRQ(DMA2_Stream7_IRQn);

}

static void MX_GPIO_Init(void)
{
  GPIO_InitTypeDef GPIO_InitStruct = {0};

  /* GPIO Ports Clock Enable */
  __HAL_RCC_GPIOC_CLK_ENABLE();
  __HAL_RCC_GPIOH_CLK_ENABLE();
  __HAL_RCC_GPIOA_CLK_ENABLE();
  __HAL_RCC_GPIOB_CLK_ENABLE();

  /*Configure GPIO pin Output Level */
  HAL_GPIO_WritePin(GPIOC, XSHUT_G1_Pin|XSHUT_G2_Pin|XSHUT_G3_Pin|XSHUT_G4_Pin
                          |PROBE_Pin, GPIO_PIN_RESET);

  /*Configure GPIO pin Output Level */
  HAL_GPIO_WritePin(IMU_CS_GPIO_Port, IMU_CS_Pin, GPIO_PIN_SET);

  /*Configure GPIO pin Output Level */
  HAL_GPIO_WritePin(LD2_GPIO_Port, LD2_Pin, GPIO_PIN_RESET);

  /*Configure GPIO pin Output Level */
  HAL_GPIO_WritePin(GPIOB, XSHUT_S1_Pin|XSHUT_S2_Pin|EN_L_Pin|EN_R_Pin
                          |XSHUT_F1_Pin|XSHUT_F2_Pin, GPIO_PIN_RESET);

  /*Configure GPIO pin Output Level */
  HAL_GPIO_WritePin(HC12_Set_GPIO_Port, HC12_Set_Pin, GPIO_PIN_SET);

  /*Configure GPIO pin : B1_Pin */
  GPIO_InitStruct.Pin = B1_Pin;
  GPIO_InitStruct.Mode = GPIO_MODE_IT_FALLING;
  GPIO_InitStruct.Pull = GPIO_NOPULL;
  HAL_GPIO_Init(B1_GPIO_Port, &GPIO_InitStruct);

  /*Configure GPIO pins : XSHUT_G1_Pin XSHUT_G2_Pin XSHUT_G3_Pin XSHUT_G4_Pin
                           HC12_Set_Pin */
  GPIO_InitStruct.Pin = XSHUT_G1_Pin|XSHUT_G2_Pin|XSHUT_G3_Pin|XSHUT_G4_Pin
                          |HC12_Set_Pin;
  GPIO_InitStruct.Mode = GPIO_MODE_OUTPUT_PP;
  GPIO_InitStruct.Pull = GPIO_NOPULL;
  GPIO_InitStruct.Speed = GPIO_SPEED_FREQ_LOW;
  HAL_GPIO_Init(GPIOC, &GPIO_InitStruct);

  /*Configure GPIO pin : IMU_CS_Pin */
  GPIO_InitStruct.Pin = IMU_CS_Pin;
  GPIO_InitStruct.Mode = GPIO_MODE_OUTPUT_PP;
  GPIO_InitStruct.Pull = GPIO_NOPULL;
  GPIO_InitStruct.Speed = GPIO_SPEED_FREQ_VERY_HIGH;
  HAL_GPIO_Init(IMU_CS_GPIO_Port, &GPIO_InitStruct);

  /*Configure GPIO pin : LD2_Pin */
  GPIO_InitStruct.Pin = LD2_Pin;
  GPIO_InitStruct.Mode = GPIO_MODE_OUTPUT_PP;
  GPIO_InitStruct.Pull = GPIO_NOPULL;
  GPIO_InitStruct.Speed = GPIO_SPEED_FREQ_LOW;
  HAL_GPIO_Init(LD2_GPIO_Port, &GPIO_InitStruct);

  /*Configure GPIO pins : XSHUT_S1_Pin XSHUT_S2_Pin XSHUT_F1_Pin XSHUT_F2_Pin */
  GPIO_InitStruct.Pin = XSHUT_S1_Pin|XSHUT_S2_Pin|XSHUT_F1_Pin|XSHUT_F2_Pin;
  GPIO_InitStruct.Mode = GPIO_MODE_OUTPUT_PP;
  GPIO_InitStruct.Pull = GPIO_NOPULL;
  GPIO_InitStruct.Speed = GPIO_SPEED_FREQ_LOW;
  HAL_GPIO_Init(GPIOB, &GPIO_InitStruct);

  /*Configure GPIO pins : EN_L_Pin EN_R_Pin */
  GPIO_InitStruct.Pin = EN_L_Pin|EN_R_Pin;
  GPIO_InitStruct.Mode = GPIO_MODE_OUTPUT_PP;
  GPIO_InitStruct.Pull = GPIO_PULLDOWN;
  GPIO_InitStruct.Speed = GPIO_SPEED_FREQ_LOW;
  HAL_GPIO_Init(GPIOB, &GPIO_InitStruct);

  /*Configure GPIO pin : PROBE_Pin */
  GPIO_InitStruct.Pin = PROBE_Pin;
  GPIO_InitStruct.Mode = GPIO_MODE_OUTPUT_PP;
  GPIO_InitStruct.Pull = GPIO_NOPULL;
  GPIO_InitStruct.Speed = GPIO_SPEED_FREQ_VERY_HIGH;
  HAL_GPIO_Init(PROBE_GPIO_Port, &GPIO_InitStruct);

  /*Configure GPIO pins : VL_S2_INT_Pin VL_S1_INT_Pin */
  GPIO_InitStruct.Pin = VL_S2_INT_Pin|VL_S1_INT_Pin;
  GPIO_InitStruct.Mode = GPIO_MODE_IT_FALLING;
  GPIO_InitStruct.Pull = GPIO_PULLUP;
  HAL_GPIO_Init(GPIOA, &GPIO_InitStruct);

  /* EXTI interrupt init*/
  HAL_NVIC_SetPriority(EXTI15_10_IRQn, 4, 0);
  HAL_NVIC_EnableIRQ(EXTI15_10_IRQn);

}

/* USER CODE BEGIN 4 */
#if 0
/* ============================== helpers =================================== */
static float clampf(float x, float lo, float hi)
{
  return (x < lo) ? lo : ((x > hi) ? hi : x);
}

static uint8_t Moving(void)
{
  return (phase == PH_MOVE || phase == PH_SETTLE);
}

/* ============================== BTS7960 =================================== */
/* TIM1 sits on APB2 (90 MHz, timer clock 180 MHz because APB2 prescaler /2).
   Prescaler 0, ARR = 180 MHz / 20 kHz - 1 = 8999 -> 20 kHz PWM, 9000 steps.  */
static void PWM_Setup(void)
{
  uint32_t pclk2 = HAL_RCC_GetPCLK2Freq();
  uint32_t tclk  = ((RCC->CFGR & RCC_CFGR_PPRE2) == 0U) ? pclk2 : 2U * pclk2;
  pwm_arr = (tclk / PWM_FREQ_HZ) - 1U;
  __HAL_TIM_SET_PRESCALER(&htim1, 0U);
  __HAL_TIM_SET_AUTORELOAD(&htim1, pwm_arr);
  htim1.Instance->EGR = TIM_EGR_UG;
}

/* BTS7960: one half-bridge per PWM input. RPWM = PWM, LPWM = 0 -> one
   direction, RPWM = 0, LPWM = PWM -> the other. Both 0 with EN = 1 -> both
   outputs low = motor shorted = BRAKE. EN = 0 -> coast.                     */
static void Wheel_SetDuty(Wheel_t *w, float duty)
{
  duty = clampf(duty, -100.0f, 100.0f);
  w->duty = duty;
  float s = duty * (float)w->mot_sign;
  uint32_t ccr = (uint32_t)(fabsf(s) * (float)(pwm_arr + 1U) / 100.0f + 0.5f);
  if (ccr > pwm_arr + 1U) ccr = pwm_arr + 1U;

  if (s >= 0.0f) {                       /* switch the unused side off first */
    __HAL_TIM_SET_COMPARE(&htim1, w->ch_rev, 0U);
    __HAL_TIM_SET_COMPARE(&htim1, w->ch_fwd, ccr);
  } else {
    __HAL_TIM_SET_COMPARE(&htim1, w->ch_fwd, 0U);
    __HAL_TIM_SET_COMPARE(&htim1, w->ch_rev, ccr);
  }
}

static void Motors_Stop(void)
{
  Wheel_SetDuty(&wl, 0.0f);
  Wheel_SetDuty(&wr, 0.0f);
  wl.integ = 0.0f;
  wr.integ = 0.0f;
}

/* ============================== encoders ================================== */
/* (int16_t)(now - last) is correct even when the 16-bit counter wraps.      */
static void Wheel_UpdateEncoder(Wheel_t *w)
{
  uint16_t now   = (uint16_t)__HAL_TIM_GET_COUNTER(w->enc);
  int16_t  raw   = (int16_t)(now - w->last_raw);
  w->last_raw    = now;
  int32_t  delta = (int32_t)w->enc_sign * (int32_t)raw;
  w->total      += delta;
  float v_raw    = (float)delta * MM_PER_COUNT / CTRL_PERIOD_S;
  w->speed      += SPEED_FILTER_ALPHA * (v_raw - w->speed);
}

/* ============================== profile =================================== */
/* Trapezoid from the slides: A1 (accel), A2 (cruise), A3 (decel).
   v = speed, x = distance travelled since the start (area under the curve). */
static void Profile_Eval(float t, float *v, float *x)
{
  if (t < mv_t1) {
    *v = mv_Sn * t / mv_a;
    *x = 0.5f * mv_Sn * t * t / mv_a;
  } else if (t < mv_t2) {
    *v = mv_Sn;
    *x = 0.5f * mv_Sn * mv_a + mv_Sn * (t - mv_t1);
  } else if (t < mv_T) {
    float tau = mv_T - t;
    *v = mv_Sn * tau / mv_d;
    *x = mv_D - 0.5f * mv_Sn * tau * tau / mv_d;
  } else {
    *v = 0.0f;
    *x = mv_D;
  }
}

/* ============================ PI controller =============================== */
/* duty = feed-forward (min duty + k*speed) + Kp*err + integrator
   + short "kick" while the wheel is still standing.                         */
static void Wheel_Control(Wheel_t *w, float v_cmd)
{
  float av = fabsf(v_cmd);

  float ff = 0.0f;
  if (av > V_ZERO_MM_S) {
	ff = w->ks + w->kv * av;
    if (v_cmd < 0.0f) ff = -ff;
  } else {
    w->integ = 0.0f;           /* command is zero: forget the old correction */
  }

  float err = v_cmd - w->speed;
  float u   = ff + KP_SPEED * err + w->integ;

  if (fabsf(w->speed) >= V_MOVING_MM_S) w->moved = 1;

  /* kick only for the break-away at the start, never again in this move */
  uint8_t kicking = 0;
  if (!w->moved && av > V_ZERO_MM_S && w->kick_ticks < KICK_TICKS) {
    w->kick_ticks++;
    kicking = 1;
    float ku = (v_cmd > 0.0f) ? KICK_DUTY_PCT : -KICK_DUTY_PCT;
    if (fabsf(u) < KICK_DUTY_PCT) u = ku;
  }

  /* anti-windup: integrate only when not saturated and not kicking */
  if (!kicking && fabsf(u) < 100.0f) {
    w->integ += KI_SPEED * err * CTRL_PERIOD_S;
    w->integ  = clampf(w->integ, -INTEG_MAX_PCT, INTEG_MAX_PCT);
  }

  Wheel_SetDuty(w, u);
}

static uint8_t Wheel_Faulty(const Wheel_t *w)
{
  /* stalled: lots of power, no movement */
  if (fabsf(w->duty) >= 50.0f && fabsf(w->speed) < 5.0f) return 1;
  /* runaway: wheel moves against the command (wrong ENC/MOT sign) */
  if (w->duty >  10.0f && w->speed < -20.0f) return 1;
  if (w->duty < -10.0f && w->speed >  20.0f) return 1;
  return 0;
}

/* ============================ 50 Hz control tick ========================== */
static void Control_Tick(void)
{
  Wheel_UpdateEncoder(&wl);
  Wheel_UpdateEncoder(&wr);
  position_l_mm = (float)wl.total * MM_PER_COUNT;
  position_r_mm = (float)wr.total * MM_PER_COUNT;
  speed_l_mms   = wl.speed;
  speed_r_mms   = wr.speed;

  if (!Moving()) return;

  mv_ticks++;
  float t = (float)mv_ticks * CTRL_PERIOD_S;
  float v_prof, x_prof;
  Profile_Eval(t, &v_prof, &x_prof);

  if (phase == PH_MOVE && t >= mv_T) {
    phase = PH_SETTLE;
    settle_ticks = 0;
  }

  Wheel_t *ws[2] = { &wl, &wr };
  float perr[2];
  for (int i = 0; i < 2; i++) {
    Wheel_t *w = ws[i];
    float x_meas = (float)(w->total - w->start_total) * MM_PER_COUNT;
    perr[i] = (float)mv_dir * x_prof - x_meas;       /* position error [mm] */

    float v_cmd;
    if (phase == PH_MOVE) {
      v_cmd = (float)mv_dir * v_prof
            + clampf(KP_POS * perr[i], -V_CORR_MAX_MM_S, V_CORR_MAX_MM_S);
    } else {
      v_cmd = clampf(KP_POS * perr[i], -SETTLE_V_MM_S, SETTLE_V_MM_S);
      if (fabsf(perr[i]) < POS_TOL_MM) v_cmd = 0.0f;
    }
    Wheel_Control(w, v_cmd);
  }

  /* protection */
  for (int i = 0; i < 2; i++) {
    if (Wheel_Faulty(ws[i])) {
      if (++ws[i]->fault_cnt >= FAULT_TICKS) {
        Motors_Stop();
        phase = PH_FAULT;
        evt   = EVT_FAULT;
        return;
      }
    } else {
      ws[i]->fault_cnt = 0;
    }
  }

  /* end of the move */
  if (phase == PH_SETTLE) {
    settle_ticks++;
    uint8_t in_tol = (fabsf(perr[0]) < POS_TOL_MM) && (fabsf(perr[1]) < POS_TOL_MM)
                  && (fabsf(wl.speed) < 10.0f) && (fabsf(wr.speed) < 10.0f);
    if (in_tol || settle_ticks >= SETTLE_TICKS) {
      Motors_Stop();                    /* brake */
      phase = PH_IDLE;
      evt   = EVT_DONE;
    }
  }
}

void HAL_TIM_PeriodElapsedCallback(TIM_HandleTypeDef *htim)
{
  if (htim->Instance == TIM6) {
    Control_Tick();
  }
}

/* ============================ start of a move ============================= */
/* Distance -> profile. Slides: D = Sn * [ (a+d)/2 + (T-d-a) ]
   -> T = D/Sn + (a+d)/2. If D is too short for the full trapezoid the
   speed is lowered and the profile becomes a triangle (T = a + d).          */
static int Move_Start(long dist_mm)
{
  float D  = (float)labs(dist_mm);
  float a  = (float)acc_ms / 1000.0f;
  float d  = (float)dec_ms / 1000.0f;
  float Sn = v_nom;
  float T;

  if (D >= Sn * (a + d) * 0.5f) {
    T = D / Sn + 0.5f * (a + d);
  } else {
    Sn = 2.0f * D / (a + d);
    T  = a + d;
  }

  __disable_irq();
  open_loop = 0;
  mv_D = D;  mv_Sn = Sn;  mv_a = a;  mv_d = d;  mv_T = T;
  mv_t1 = a; mv_t2 = T - d;
  mv_dir = (dist_mm > 0) ? 1 : -1;
  mv_target_mm = dist_mm;
  mv_ticks = 0;
  settle_ticks = 0;
  wl.start_total = wl.total;   wr.start_total = wr.total;
  wl.integ = 0.0f;             wr.integ = 0.0f;
  wl.kick_ticks = 0;           wr.kick_ticks = 0;
  wl.moved = 0;                wr.moved = 0;
  wl.fault_cnt = 0;            wr.fault_cnt = 0;
  evt = 0;
  phase = PH_MOVE;
  __enable_irq();

  char msg[72];
  snprintf(msg, sizeof msg, "Move %ld mm: Vmax %ld mm/s, T %ld ms\r\n",
           dist_mm, (long)Sn, (long)(T * 1000.0f));
  Serial_Print(msg);
  return 0;
}

static void Move_Abort(void)
{
  __disable_irq();
  open_loop = 0;
  phase = PH_IDLE;
  Motors_Stop();
  __enable_irq();
}

/* ============================== serial ==================================== */
static void Rx_Char(char c)
{
  t_last_rx = HAL_GetTick();
  if (line_ready) return;
  if (c == '\r' || c == '\n') {
    if (rx_len > 0) { rx_line[rx_len] = '\0'; rx_len = 0; line_ready = 1; }
  } else if (rx_len < RX_LINE_MAX - 1) {
    rx_line[rx_len++] = c;
  }
}

void HAL_UART_RxCpltCallback(UART_HandleTypeDef *huart)
{
  if (huart->Instance == USART2) {
    Rx_Char((char)rx_byte);
    HAL_UART_Receive_IT(&huart2, &rx_byte, 1);
  } else if (huart->Instance == USART1) {
    Rx_Char((char)rx_byte1);
    HAL_UART_Receive_IT(&huart1, &rx_byte1, 1);
  }
}

void HAL_UART_ErrorCallback(UART_HandleTypeDef *huart)
{
  if (huart->Instance == USART2) {
    HAL_UART_Receive_IT(&huart2, &rx_byte, 1);
  } else if (huart->Instance == USART1) {
    HAL_UART_Receive_IT(&huart1, &rx_byte1, 1);
  }
}

static void Serial_Print(const char *txt)
{
  uint16_t n = (uint16_t)strlen(txt);
  HAL_UART_Transmit(&huart2, (const uint8_t *)txt, n, 10U + n / 10U);  /* 115200 */
  HAL_UART_Transmit(&huart1, (const uint8_t *)txt, n, 10U + 2U * n);   /* 9600   */
}

/* Integer-only formatting (float printf is not enabled in newlib-nano) */
static void fmt_x10(char *out, size_t n, float v)
{
  long x = (long)(v * 10.0f + ((v >= 0.0f) ? 0.5f : -0.5f));
  snprintf(out, n, "%s%ld.%ld", (x < 0) ? "-" : "", labs(x) / 10, labs(x) % 10);
}

static void Serial_PrintStatus(void)
{
  static const char *const names[] = { "IDLE", "MOVE", "SETTLE", "FAULT" };
  char pl[16], pr[16], msg[128];
  fmt_x10(pl, sizeof pl, position_l_mm);
  fmt_x10(pr, sizeof pr, position_r_mm);
  snprintf(msg, sizeof msg, "L=%ld (%s mm, %ld mm/s)  R=%ld (%s mm, %ld mm/s)  %s\r\n",
           (long)wl.total, pl, (long)speed_l_mms,
           (long)wr.total, pr, (long)speed_r_mms,
           names[(int)phase]);
  Serial_Print(msg);
}

static void Serial_HandleCommand(const char *cmd)
{
  char  c = cmd[0];
  char *end;

  if (c == 's' || c == 'S') {
    Move_Abort();
    Serial_Print("STOP\r\n");

  } else if (c == 'r' || c == 'R') {
    if (Moving()) { Serial_Print("Busy, send s first\r\n"); return; }
    __disable_irq();
    wl.total = 0; wr.total = 0;
    wl.start_total = 0; wr.start_total = 0;
    __enable_irq();
    Serial_Print("Counters reset\r\n");

  } else if (c == 'p' || c == 'P') {
    Serial_PrintStatus();

  } else if (c == 'a' || c == 'A') {
    auto_print = !auto_print;
    Serial_Print(auto_print ? "Auto print ON\r\n" : "Auto print OFF\r\n");

  } else if (c == '?') {
    Serial_Print("D<mm> / D-<mm> drive, V<mm/s> speed, T<ms> [<ms>] ramps,\r\n"
                 "-100..100 open loop duty, s stop, r reset, p print, a auto\r\n");

  } else if (c == 'd' || c == 'D') {
    if (Moving()) { Serial_Print("Busy, send s to stop\r\n"); return; }
    long mm = strtol(cmd + 1, &end, 10);
    if (end == cmd + 1 || *end != '\0' || labs(mm) < MIN_DIST_MM || labs(mm) > MAX_DIST_MM) {
      Serial_Print("Invalid distance, use D<5..20000> or D-<5..20000> [mm]\r\n");
      return;
    }
    Move_Start(mm);

  } else if (c == 'v' || c == 'V') {
    long v = strtol(cmd + 1, &end, 10);
    if (end == cmd + 1 || *end != '\0' || v < V_NOM_MIN || v > V_NOM_MAX) {
      Serial_Print("Invalid speed, use V20..800 [mm/s]\r\n");
      return;
    }
    v_nom = (float)v;
    char msg[40];
    snprintf(msg, sizeof msg, "Vnom %ld mm/s\r\n", v);
    Serial_Print(msg);

  } else if (c == 't' || c == 'T') {
    long a = strtol(cmd + 1, &end, 10);
    long d = a;
    uint8_t ok = (end != cmd + 1);
    while (*end == ' ') end++;
    if (ok && *end != '\0') {
      char *e2;
      d  = strtol(end, &e2, 10);
      ok = (e2 != end) && (*e2 == '\0');
    }
    if (!ok || a < 100 || a > 5000 || d < 100 || d > 5000) {
      Serial_Print("Invalid ramp, use T<100..5000> [<100..5000>] [ms]\r\n");
      return;
    }
    acc_ms = (uint32_t)a;
    dec_ms = (uint32_t)d;
    char msg[48];
    snprintf(msg, sizeof msg, "Ramps: accel %ld ms, decel %ld ms\r\n", a, d);
    Serial_Print(msg);

  } else if (c == '-' || c == '+' || (c >= '0' && c <= '9')) {
    if (Moving()) { Serial_Print("Busy, send s first\r\n"); return; }
    long v = strtol(cmd, &end, 10);
    if (*end != '\0' || v < -100 || v > 100) {
      Serial_Print("Invalid value, use -100..100\r\n");
      return;
    }
    phase = PH_IDLE;
    Wheel_SetDuty(&wl, (float)v);
    Wheel_SetDuty(&wr, (float)v);
    open_loop = (v != 0);
    char msg[40];
    snprintf(msg, sizeof msg, "Open loop duty %ld %%\r\n", v);
    Serial_Print(msg);

  } else {
    Serial_Print("Unknown command, type ?\r\n");
  }
}

/* ============================ init + main loop ============================ */
static void Car_Init(void)
{
  PWM_Setup();
  Motors_Stop();
  HAL_TIM_PWM_Start(&htim1, TIM_CHANNEL_1);
  HAL_TIM_PWM_Start(&htim1, TIM_CHANNEL_2);
  HAL_TIM_PWM_Start(&htim1, TIM_CHANNEL_3);
  HAL_TIM_PWM_Start(&htim1, TIM_CHANNEL_4);
  /* enable both BTS7960 only after the PWM outputs are at 0 */
  HAL_GPIO_WritePin(EN_L_GPIO_Port, EN_L_Pin, GPIO_PIN_SET);
  HAL_GPIO_WritePin(EN_R_GPIO_Port, EN_R_Pin, GPIO_PIN_SET);

  HAL_TIM_Encoder_Start(&htim3, TIM_CHANNEL_ALL);
  HAL_TIM_Encoder_Start(&htim8, TIM_CHANNEL_ALL);
  wl.last_raw = (uint16_t)__HAL_TIM_GET_COUNTER(&htim3);
  wr.last_raw = (uint16_t)__HAL_TIM_GET_COUNTER(&htim8);

  HAL_UART_Receive_IT(&huart2, &rx_byte, 1);
  HAL_UART_Receive_IT(&huart1, &rx_byte1, 1);
  Serial_Print("\r\nCar ready. Type ? for help.\r\n");

  HAL_TIM_Base_Start_IT(&htim6);          /* start the 50 Hz control loop */
}

static void Car_Loop(void)
{
  static uint32_t t_print = 0;

  /* 1) command from the serial monitor */
  /* 1) command from the serial monitor or the radio */
  if (line_ready) {
    char cmd[RX_LINE_MAX];
    char echo[RX_LINE_MAX + 6];
    memcpy(cmd, (const char *)rx_line, RX_LINE_MAX);
    line_ready = 0;
    snprintf(echo, sizeof echo, "> %s\r\n", cmd);
    Serial_Print(echo);
    Serial_HandleCommand(cmd);
  }

  /* 2) events from the control loop */
  if (evt) {
    uint8_t e = evt;
    evt = 0;
    if (e == EVT_DONE) {
      char a[16], b[16], msg[96];
      fmt_x10(a, sizeof a, (float)(wl.total - wl.start_total) * MM_PER_COUNT);
      fmt_x10(b, sizeof b, (float)(wr.total - wr.start_total) * MM_PER_COUNT);
      snprintf(msg, sizeof msg, "DONE: target %ld mm, L=%s mm, R=%s mm\r\n",
               mv_target_mm, a, b);
      Serial_Print(msg);
    } else {
      Serial_Print("FAULT: wheel stalled or wrong ENC_x_SIGN / MOT_x_SIGN. Motors stopped.\r\n");
    }
  }

  /* 3) periodic print */
  if (auto_print && (HAL_GetTick() - t_print >= AUTO_PRINT_MS)) {
    t_print = HAL_GetTick();
    Serial_PrintStatus();
  }

  /* 4) dead-man: open-loop duty needs input at least every 2 s */
  if (open_loop && (HAL_GetTick() - t_last_rx > DEADMAN_MS)) {
    Move_Abort();
    Serial_Print("DEADMAN: no input for 2 s, motors stopped\r\n");
  }
}
#endif
/* USER CODE END 4 */

void Error_Handler(void)
{
  /* USER CODE BEGIN Error_Handler_Debug */
  /* User can add his own implementation to report the HAL error return state */
  sys_fault_hard_stop();
  sys_fault_record_hard(F_HARDFAULT, __get_MSP());
  __disable_irq();
  while (1)
  {
  }
  /* USER CODE END Error_Handler_Debug */
}
